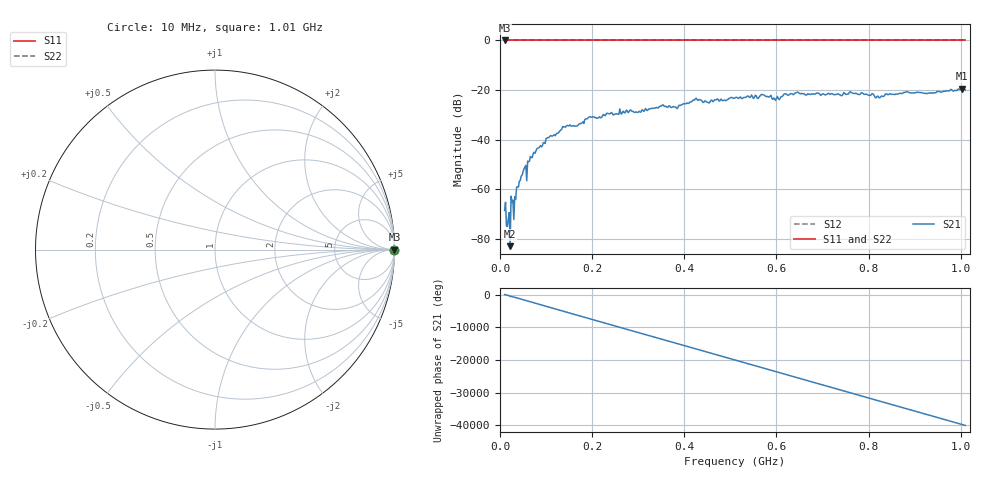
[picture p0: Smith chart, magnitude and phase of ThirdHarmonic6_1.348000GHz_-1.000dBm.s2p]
! 8/16/2025 3:09:49 PM
! C:\ANRITSUVNA\TEMP\TEMP.S2P
! CHANNEL.1
! TR.MEASUREMENT
! RAW.DATA
! RF.CORRECTION.OFF
! AVERAGING.OFF
! IF.BANDWIDTH: 5KHZ
! SWEEPTYPE:  FREQ.SWEEP(Linear)
! Reference Plane Port Info
! PORT:  PORT1  PORT2
! DISTANCE:  0  m  0  m
! TIME:  0  s  0  s
! PHASE.OFFSET:  0  deg.  0  deg.
! LOSS:  0  dB  0  dB
! REF.LOSS:  0  dB  0  dB
! REF.FREQ:  0  Hz  0  Hz
! Power Info
! POWER:  -20  dBm  -20  dBm
! EFF.POWER:  -20  dBm  -20  dBm
! SOURCE.ATTEN:  0  dB  0  dB
! TEST.ATTEN:  0  dB  0  dB
# GHZ S RI R 50.0
! FREQ.GHZ  S11RE  S11IM  S21RE  S21IM  S12RE  S12IM  S22RE  S22IM
!; PortSelection: Port_12
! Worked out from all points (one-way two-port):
!   501 points, 10 MHz to 1.01 GHz, reference 50 ohm
!   highest |S21| = -19.41 dB at 1.002 GHz (marker M1); lowest = -83.0 dB at 22 MHz (marker M2)
!   lowest |S11| = 0.0 dB at 10 MHz (marker M3)
!   |S11| at or under -10 dB: nowhere
!   |S22| runs from 0.0 to 0.0 dB; largest |S21 - S12| = 1.1
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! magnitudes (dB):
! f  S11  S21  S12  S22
! 10 MHz  0.0  -68.6  0.0  0.0
! 16 MHz  0.0  -74.9  0.0  0.0
! 18 MHz  0.0  -72.0  0.0  0.0
! 22 MHz  0.0  -83.0  0.0  0.0
! 26 MHz  0.0  -65.1  0.0  0.0
! 28 MHz  0.0  -64.4  0.0  0.0
! 34 MHz  0.0  -64.1  0.0  0.0
! 40 MHz  0.0  -59.2  0.0  0.0
! 50 MHz  0.0  -52.9  0.0  0.0
! 76 MHz  0.0  -45.5  0.0  0.0
! 140 MHz  0.0  -34.8  0.0  0.0
! 178 MHz  0.0  -33.2  0.0  0.0
! 196 MHz  0.0  -30.7  0.0  0.0
! 344 MHz  0.0  -27.2  0.0  0.0
! 382 MHz  0.0  -27.0  0.0  0.0
! 424 MHz  0.0  -23.5  0.0  0.0
! 452 MHz  0.0  -25.1  0.0  0.0
! 510 MHz  0.0  -23.2  0.0  0.0
! 678 MHz  0.0  -21.7  0.0  0.0
! 844 MHz  0.0  -21.7  0.0  0.0
! 1.002 GHz  0.0  -19.4  0.0  0.0
! 1.01 GHz  0.0  -20.0  0.0  0.0
